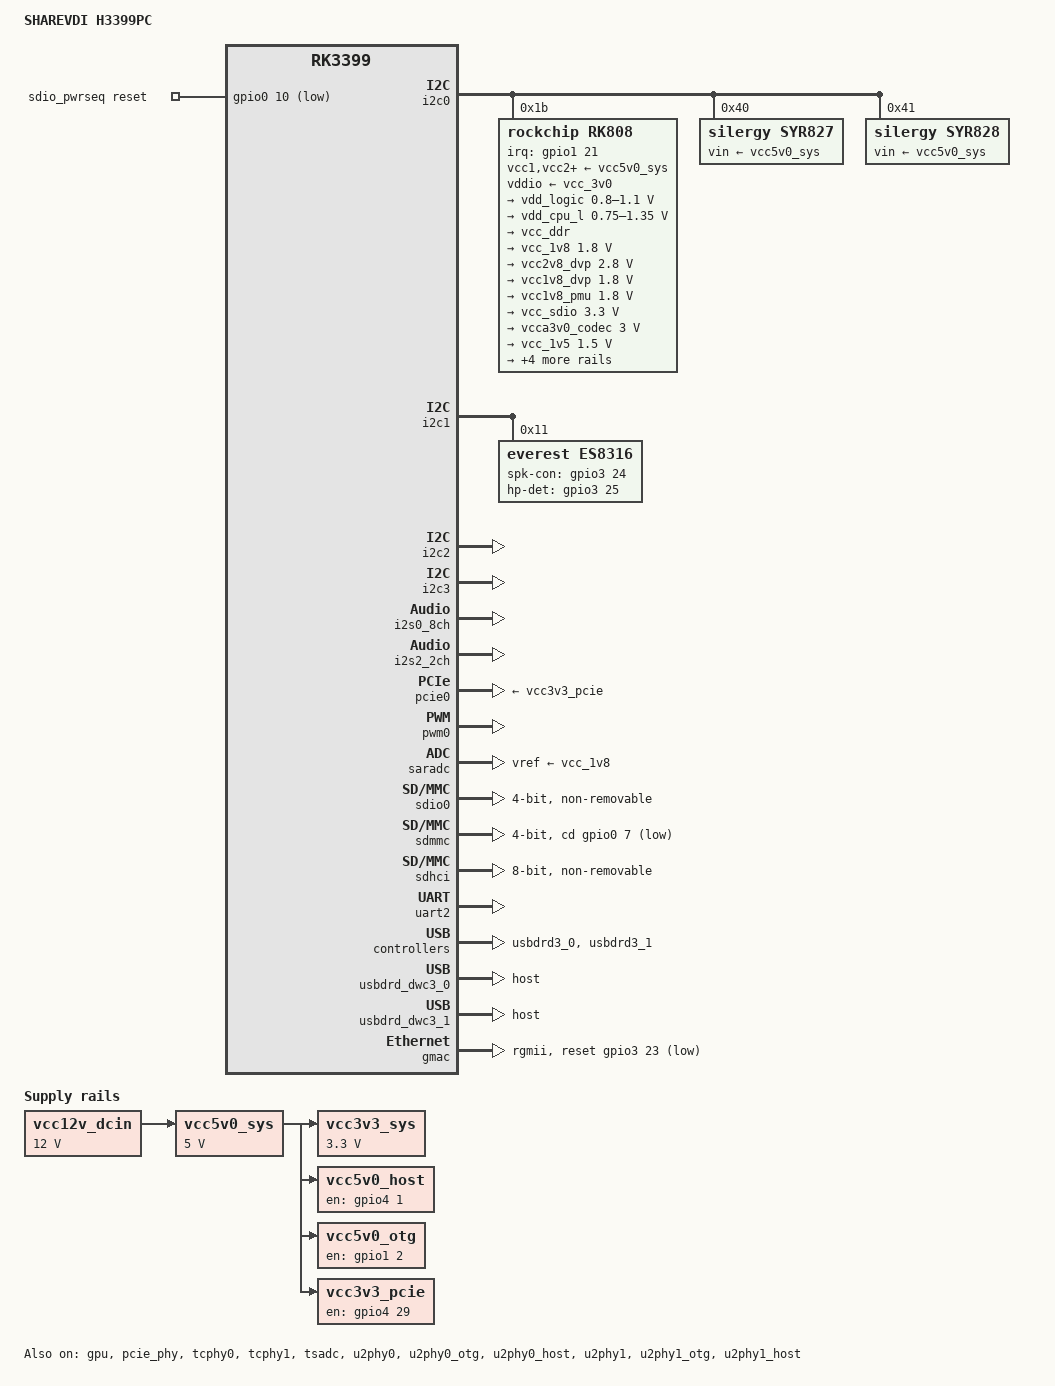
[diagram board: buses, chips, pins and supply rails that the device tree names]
// SPDX-License-Identifier: (GPL-2.0+ OR MIT)
/*
 * Copyright (c) 2024-2026 SHAREVDI Inc.
 * 
 * Device Tree Source for SHAREVDI H3399PC (RK3399)
 * Adapted for Linux Kernel 6.18+
 */

/dts-v1/;
#include <dt-bindings/input/linux-event-codes.h>
#include <dt-bindings/pinctrl/rockchip.h>
#include <dt-bindings/usb/pd.h>
#include "rk3399.dtsi"
#include <dt-bindings/leds/common.h>
#include <dt-bindings/pwm/pwm.h>



/ {
	model = "SHAREVDI H3399PC";
	compatible = "sharevdi,h3399pc", "rockchip,rk3399";

	aliases {
		mmc0 = &sdio0;
		mmc1 = &sdmmc;
		mmc2 = &sdhci;
	};

	chosen {
		stdout-path = "serial2:1500000n8";
	};

	/* --- 电源管理配置 --- */
	vcc12v_dcin: vcc12v-dcin {
		compatible = "regulator-fixed";
		regulator-name = "vcc12v_dcin";
		regulator-always-on;
		regulator-boot-on;
		regulator-min-microvolt = <12000000>;
		regulator-max-microvolt = <12000000>;
	};

	vcc5v0_sys: vcc5v0-sys {
		compatible = "regulator-fixed";
		regulator-name = "vcc5v0_sys";
		regulator-always-on;
		regulator-boot-on;
		regulator-min-microvolt = <5000000>;
		regulator-max-microvolt = <5000000>;
		vin-supply = <&vcc12v_dcin>;
	};

	vcc3v3_sys: vcc3v3-sys {
		compatible = "regulator-fixed";
		regulator-name = "vcc3v3_sys";
		regulator-always-on;
		regulator-boot-on;
		regulator-min-microvolt = <3300000>;
		regulator-max-microvolt = <3300000>;
		vin-supply = <&vcc5v0_sys>;
	};

	vcc5v0_host: vcc5v0-host {
		compatible = "regulator-fixed";
		regulator-name = "vcc5v0_host";
		gpio = <&gpio4 1 GPIO_ACTIVE_HIGH>; /* GPIO4_PA1 */
		enable-active-high;
		vin-supply = <&vcc5v0_sys>;
	};

	vcc5v0_otg: vcc5v0-otg {
		compatible = "regulator-fixed";
		regulator-name = "vcc5v0_otg";
		gpio = <&gpio1 2 GPIO_ACTIVE_HIGH>; /* GPIO1_PA2 */
		enable-active-high;
		vin-supply = <&vcc5v0_sys>;
	};

	vcc3v3_pcie: vcc3v3-pcie {
		compatible = "regulator-fixed";
		regulator-name = "vcc3v3_pcie";
		gpio = <&gpio4 29 GPIO_ACTIVE_HIGH>; /* GPIO4_PD5 */
		enable-active-high;
		startup-delay-us = <50000>;
		vin-supply = <&vcc5v0_sys>;
	};

	/* --- 无线模块电源序列 --- */
	sdio_pwrseq: sdio-pwrseq {
		compatible = "mmc-pwrseq-simple";
		clocks = <&rk808 1>;
		clock-names = "ext_clock";
		pinctrl-names = "default";
		pinctrl-0 = <&wifi_enable_h>;
		reset-gpios = <&gpio0 10 GPIO_ACTIVE_LOW>; /* GPIO0_PB2 */
	};

	/* --- 音频配置 --- */
	es8316-sound {
		compatible = "simple-audio-card";
		simple-audio-card,format = "i2s";
		simple-audio-card,name = "rockchip,es8316-codec";
		simple-audio-card,mclk-fs = <256>;
		
		simple-audio-card,cpu {
			sound-dai = <&i2s0_8ch>;
		};

		simple-audio-card,codec {
			sound-dai = <&es8316>;
		};
	};
};

/* --- 核心板级控制 --- */
&cpu_l0 {
	cpu-supply = <&vdd_cpu_l>;
};

&cpu_l1 {
	cpu-supply = <&vdd_cpu_l>;
};

&cpu_l2 {
	cpu-supply = <&vdd_cpu_l>;
};

&cpu_l3 {
	cpu-supply = <&vdd_cpu_l>;
};

&cpu_b0 {
	cpu-supply = <&vdd_cpu_b>;
};

&cpu_b1 {
	cpu-supply = <&vdd_cpu_b>;
};

&gpu {
	mali-supply = <&vdd_gpu>;
	status = "okay";
};

&i2c0 {
	clock_frequency = <400000>;
	i2c-scl-rising-time-ns = <168>;
	i2c-scl-falling-time-ns = <4>;
	status = "okay";

	rk808: pmic@1b {
		compatible = "rockchip,rk808";
		reg = <0x1b>;
		interrupt-parent = <&gpio1>;
		interrupts = <21 IRQ_TYPE_LEVEL_LOW>;
		#clock-cells = <1>;
		clock-output-names = "xin32k", "rk808-clkout2";
		pinctrl-names = "default";
		pinctrl-0 = <&pmic_int_l>;
		rockchip,system-power-controller;
		wakeup-source;

		vcc1-supply = <&vcc5v0_sys>;
		vcc2-supply = <&vcc5v0_sys>;
		vcc3-supply = <&vcc5v0_sys>;
		vcc4-supply = <&vcc5v0_sys>;
		vcc6-supply = <&vcc5v0_sys>;
		vcc7-supply = <&vcc5v0_sys>;
		vcc8-supply = <&vcc5v0_sys>;
		vcc9-supply = <&vcc5v0_sys>;
		vcc10-supply = <&vcc5v0_sys>;
		vcc11-supply = <&vcc5v0_sys>;
		vcc12-supply = <&vcc5v0_sys>;
		vddio-supply = <&vcc_3v0>;

		regulators {
			vdd_logic: DCDC_REG1 {
				regulator-name = "vdd_logic";
				regulator-always-on;
				regulator-boot-on;
				regulator-min-microvolt = <800000>;
				regulator-max-microvolt = <1100000>;
				regulator-ramp-delay = <6001>;
			};

			vdd_cpu_l: DCDC_REG2 {
				regulator-name = "vdd_cpu_l";
				regulator-always-on;
				regulator-boot-on;
				regulator-min-microvolt = <750000>;
				regulator-max-microvolt = <1350000>;
				regulator-ramp-delay = <6001>;
			};

			vcc_ddr: DCDC_REG3 {
				regulator-name = "vcc_ddr";
				regulator-always-on;
				regulator-boot-on;
			};

			vcc_1v8: DCDC_REG4 {
				regulator-name = "vcc_1v8";
				regulator-always-on;
				regulator-boot-on;
				regulator-min-microvolt = <1800000>;
				regulator-max-microvolt = <1800000>;
			};

			vcc2v8_dvp: LDO_REG1 {
				regulator-name = "vcc2v8_dvp";
				regulator-min-microvolt = <2800000>;
				regulator-max-microvolt = <2800000>;
			};

			vcc1v8_dvp: LDO_REG2 {
				regulator-name = "vcc1v8_dvp";
				regulator-min-microvolt = <1800000>;
				regulator-max-microvolt = <1800000>;
			};

			vcc1v8_pmu: LDO_REG3 {
				regulator-name = "vcc1v8_pmu";
				regulator-always-on;
				regulator-boot-on;
				regulator-min-microvolt = <1800000>;
				regulator-max-microvolt = <1800000>;
			};

			vcc_sdio: LDO_REG4 {
				regulator-name = "vcc_sdio";
				regulator-min-microvolt = <3300000>;
				regulator-max-microvolt = <3300000>;
			};

			vcca3v0_codec: LDO_REG5 {
				regulator-name = "vcca3v0_codec";
				regulator-min-microvolt = <3000000>;
				regulator-max-microvolt = <3000000>;
			};

			vcc_1v5: LDO_REG6 {
				regulator-name = "vcc_1v5";
				regulator-always-on;
				regulator-boot-on;
				regulator-min-microvolt = <1500000>;
				regulator-max-microvolt = <1500000>;
			};

			vcca1v8_codec: LDO_REG7 {
				regulator-name = "vcca1v8_codec";
				regulator-min-microvolt = <1800000>;
				regulator-max-microvolt = <1800000>;
			};

			vcc_3v0: LDO_REG8 {
				regulator-name = "vcc_3v0";
				regulator-always-on;
				regulator-boot-on;
				regulator-min-microvolt = <3000000>;
				regulator-max-microvolt = <3000000>;
			};

			vcc3v3_s3: SWITCH_REG1 {
				regulator-name = "vcc3v3_s3";
				regulator-always-on;
				regulator-boot-on;
			};

			vcc3v3_s0: SWITCH_REG2 {
				regulator-name = "vcc3v3_s0";
				regulator-always-on;
				regulator-boot-on;
			};
		};
	};

	syr827: regulator@40 {
		compatible = "silergy,syr827";
		reg = <0x40>;
		vin-supply = <&vcc5v0_sys>;
		regulator-compatible = "fan53555-reg";
		regulator-name = "vdd_cpu_b";
		regulator-min-microvolt = <712500>;
		regulator-max-microvolt = <1500000>;
		regulator-ramp-delay = <1000>;
		fan53555,supply-voltage = <1>; 
	};

	syr828: regulator@41 {
		compatible = "silergy,syr828";
		reg = <0x41>;
		vin-supply = <&vcc5v0_sys>;
		regulator-compatible = "fan53555-reg";
		regulator-name = "vdd_gpu";
		regulator-min-microvolt = <712500>;
		regulator-max-microvolt = <1500000>;
		regulator-ramp-delay = <1000>;
		fan53555,supply-voltage = <1>;
	};
};

&i2c1 {
	status = "okay";
	i2c-scl-rising-time-ns = <300>;
	i2c-scl-falling-time-ns = <15>;

	es8316: codec@11 {
		compatible = "everest,es8316";
		reg = <0x11>;
		clocks = <&cru SCLK_I2S_8CH_OUT>;
		clock-names = "mclk";
		#sound-dai-cells = <0>;
		pinctrl-names = "default";
		pinctrl-0 = <&i2s_8ch_mclk>;
		spk-con-gpio = <&gpio3 24 GPIO_ACTIVE_HIGH>;
		hp-det-gpio = <&gpio3 25 GPIO_ACTIVE_HIGH>;
	};
};

&i2c2 {
	status = "okay";
};

&i2c3 {
	status = "okay";
};

&i2s0_8ch {
	status = "okay";
};

&i2s2_2ch {
	status = "okay";
};

&pcie_phy {
	status = "okay";
};

&pcie0 {
	ep-gpios = <&gpio4 28 GPIO_ACTIVE_HIGH>; /* GPIO4_PD4 */
	vpcie3v3-supply = <&vcc3v3_pcie>;
	status = "okay";
};

&pmu_io_domains {
	status = "okay";
	pmu1830-supply = <&vcc_1v8>;
};

&pinctrl {
	i2s0 {
		i2s_8ch_mclk: i2s-8ch-mclk {
			rockchip,pins = <4 1 RK_FUNC_1 &pcfg_pull_none>;
		};
	};

	pmic {
		pmic_int_l: pmic-int-l {
			rockchip,pins = <1 21 RK_FUNC_GPIO &pcfg_pull_up>;
		};
	};

	sdio-pwrseq {
		wifi_enable_h: wifi-enable-h {
			rockchip,pins = <0 10 RK_FUNC_GPIO &pcfg_pull_none>;
		};
	};
};

&pwm0 {
	status = "okay";
};

&saradc {
	vref-supply = <&vcc_1v8>;
	status = "okay";
};

&sdio0 {
	bus-width = <4>;
	cap-sd-highspeed;
	cap-sdio-irq;
	keep-power-in-suspend;
	mmc-pwrseq = <&sdio_pwrseq>;
	non-removable;
	pinctrl-names = "default";
	pinctrl-0 = <&sdio0_bus4 &sdio0_cmd &sdio0_clk>;
	sd-uhs-sdr104;
	status = "okay";
};

&sdmmc {
	bus-width = <4>;
	cap-mmc-highspeed;
	cap-sd-highspeed;
	cd-gpios = <&gpio0 7 GPIO_ACTIVE_LOW>;
	disable-wp;
	num-slots = <1>;
	pinctrl-names = "default";
	pinctrl-0 = <&sdmmc_clk &sdmmc_cmd &sdmmc_bus4>;
	sd-uhs-sdr104;
	status = "okay";
};

&sdhci {
	bus-width = <8>;
	mmc-hs400-1_8v;
	mmc-hs400-enhanced-strobe;
	non-removable;
	status = "okay";
};

&tcphy0 {
	status = "okay";
};

&tcphy1 {
	status = "okay";
};

&tsadc {
	rockchip,hw-tshut-mode = <1>;
	rockchip,hw-tshut-polarity = <1>;
	status = "okay";
};

&u2phy0 {
	status = "okay";
};

&u2phy0_otg {
	status = "okay";
};

&u2phy0_host {
	phy-supply = <&vcc5v0_host>;
	status = "okay";
};

&u2phy1 {
	status = "okay";
};

&u2phy1_otg {
	status = "okay";
};

&u2phy1_host {
	phy-supply = <&vcc5v0_host>;
	status = "okay";
};

&uart2 {
	status = "okay";
};

&usbdrd3_0 {
	status = "okay";
};

&usbdrd_dwc3_0 {
	dr_mode = "host";
	status = "okay";
};

&usbdrd3_1 {
	status = "okay";
};

&usbdrd_dwc3_1 {
	dr_mode = "host";
	status = "okay";
};

&gmac {
	assigned-clocks = <&cru SCLK_RMII_SRC>;
	assigned-clock-parents = <&cru SCLK_MAC2IO_OUT>;
	assigned-clock-rates = <50000000>;
	clock_in_out = "input";
	phy-mode = "rgmii";
	pinctrl-names = "default";
	pinctrl-0 = <&rgmii_pins>;
	snps,reset-gpio = <&gpio3 23 GPIO_ACTIVE_LOW>;
	snps,reset-active-low;
	snps,reset-delays-us = <0 10000 50000>;
	tx_delay = <0x30>;
	rx_delay = <0x10>;
	status = "okay";
};
